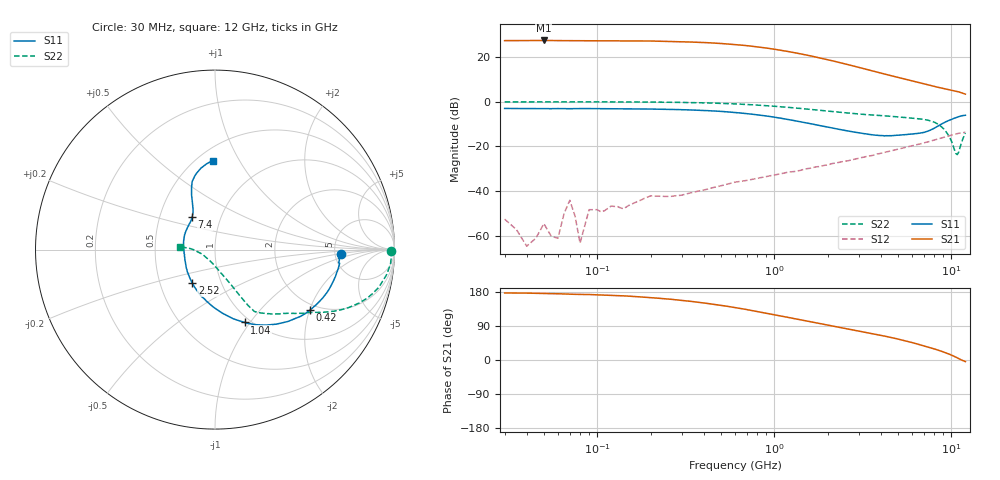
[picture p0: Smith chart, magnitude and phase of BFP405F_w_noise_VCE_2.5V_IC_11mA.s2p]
! Infineon Technologies  Discrete & RF Semiconductors
! BFP405F
! VCE =  2.5 V,  IC =  11 mA
! Common Emitter S-Parameters:  Nov 2015
# GHz  S  MA  R  50
!  f  S11  S21  S12  S22
! GHz  MAG  ANG  MAG  ANG  MAG  ANG  MAG  ANG
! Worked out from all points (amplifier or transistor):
!   239 points, 30 MHz to 12 GHz, reference 50 ohm
!   highest |S21| = 27.2 dB at 50 MHz (marker M1)
!   |S21| within 3 dB of that: start of sweep to 827.3 MHz
!   unconditionally stable (mu >= 1): 38.78 MHz to 41.87 MHz; 2.211 GHz to end of sweep
!   at 300 MHz: K = 0.23, MSG = 34.2 dB, |S12| = -41.7 dB
!   at 1.88 GHz: K = 0.92, MSG = 23.8 dB, |S12| = -28.6 dB
!   at 12 GHz: K = 1.39, MAG = 4.8 dB, |S12| = -13.7 dB
!   lowest NFmin = 1.74 dB at 450 MHz
!   S11 on the Smith chart (normalised r, x): 30 MHz: 5.64, -0.54; 420 MHz: 1.80, -2.00; 1.04 GHz: 0.94, -0.94; 2.52 GHz: 0.73, -0.29; 7.4 GHz: 0.73, +0.28; 12 GHz: 0.60, +0.78
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0.03  0.7012 -2.0  22.73 176.9  0.0024 76.1  0.9809 -0.5
0.04  0.6963 -3.1  22.77 176.5  0.0006 20.8  0.9823 -0.9
0.05  0.6904 -4.0  22.93 175.4  0.0019 -96.0  0.9788 -1.7
0.06  0.6962 -4.6  22.72 174.8  0.0009 170.0  0.9826 -1.8
0.07  0.6925 -6.0  22.7 173.6  0.0063 85.7  0.9831 -2.2
0.08  0.6989 -6.3  22.58 173.0  0.0007 -110.9  0.9841 -2.2
0.085  0.6978 -6.7  22.62 172.9  0.0017 123.7  0.9837 -2.6
0.09  0.6968 -7.2  22.66 172.8  0.0039 115.3  0.9834 -3.0
0.14  0.6894 -11.6  22.5 169.4  0.0041 78.3  0.9811 -4.6
0.24  0.6724 -19.4  21.92 161.7  0.0077 81.4  0.9673 -8.1
0.32  0.6535 -25.4  21.32 156.0  0.0088 79.2  0.9516 -10.5
0.42  0.6261 -32.7  20.43 149.2  0.0112 80.6  0.9312 -13.5
0.6  0.5704 -44.6  18.58 138.3  0.016 73.4  0.8862 -18.0
0.8  0.5065 -56.2  16.5 128.0  0.0194 71.7  0.8334 -22.0
1.04  0.4379 -67.9  14.28 118.1  0.0238 69.6  0.7755 -25.7
1.3  0.3748 -79.5  12.26 109.0  0.0276 69.0  0.7213 -28.7
1.64  0.3151 -92.9  10.19 100.1  0.0336 66.8  0.664 -31.8
2.52  0.2263 -123.9  6.862 83.2  0.0471 64.9  0.5612 -39.2
4.5  0.1738 -177.5  3.822 60.0  0.0788 59.9  0.4707 -49.6
7.4  0.2211 125.5  2.332 34.0  0.1267 48.9  0.3823 -58.6
10.8  0.4485 101.7  1.673 5.6  0.1926 29.8  0.0659 -136.8
12  0.4944 91.3  1.461 -4.2  0.2071 23.2  0.1982 175.3
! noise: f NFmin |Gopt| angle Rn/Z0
0.45  1.74  0.18  5  0.33
0.9  1.75  0.17  8  0.34
1.5  1.81  0.15  13  0.24
1.9  1.84  0.13  20  0.28
2.4  1.98  0.12  27  0.33
3  2.05  0.1  39  0.35
3.5  2.11  0.07  44  0.43
4.5  2.28  0.06  40  0.2
5.5  2.5  0.03  17  0.06
